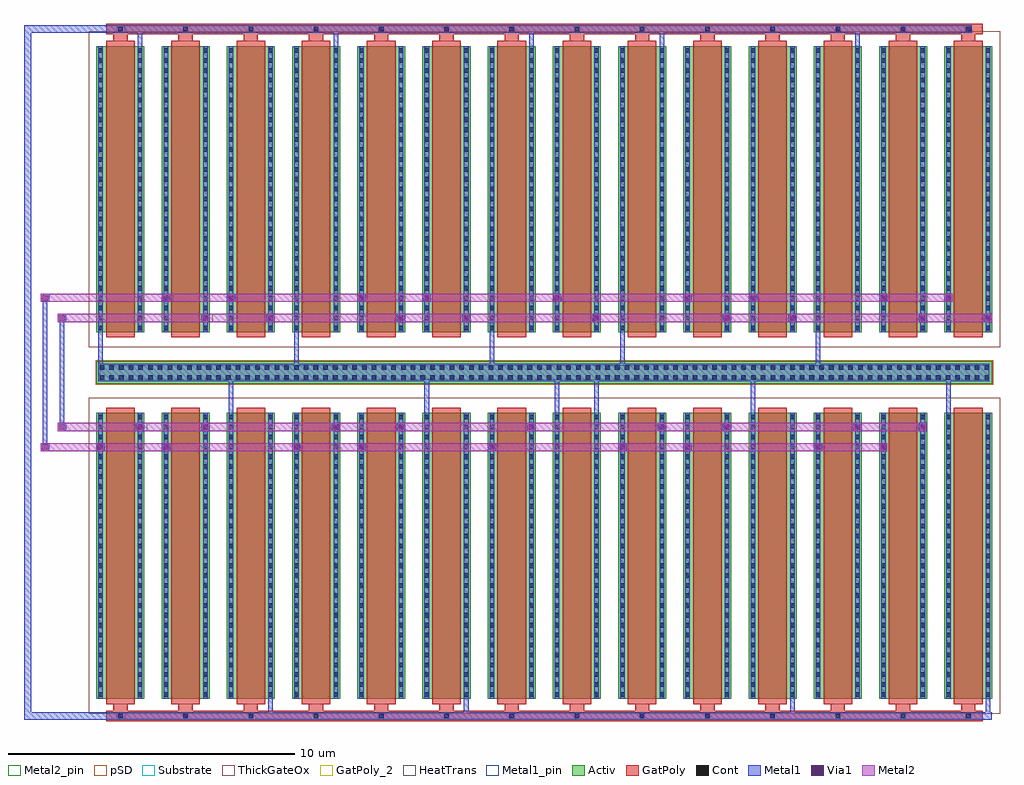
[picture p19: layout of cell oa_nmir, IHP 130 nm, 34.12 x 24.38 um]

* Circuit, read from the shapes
.subckt oa_nmir vss
XM1 oa_nmir_r1_0/d10 oa_nmir_r1_0/vnc oa_nmir_r1_0/vres vss sg13_hv_nmos w=10u l=1u m=18
XM2 oa_nmir_r1_0/vnc oa_nmir_r1_0/vnc vss vss sg13_hv_nmos w=10u l=1u m=9
XM3 vss oa_nmir_r1_0/vnc vss vss sg13_hv_nmos w=10u l=1u
.ends

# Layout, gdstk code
import gdstk
lib = gdstk.Library(unit=1e-6, precision=1e-09)
def R(c, l, rs):  # rectangles x0, y0, x1, y1
    for r in rs: c.add(gdstk.rectangle(r[:2], r[2:], *l))
def A(c, l, x, y, w, h, nx, ny, dx, dy):  # array of equal rectangles
    R(c, l, [(x+i*dx, y+j*dy, x+i*dx+w, y+j*dy+h) for i in range(nx) for j in range(ny)])
Activ = (1, 0)
GatPoly = (5, 0)
GatPoly_2 = (5, 2)
Cont = (6, 0)
Metal1 = (8, 0)
Metal1_pin = (8, 2)
Metal2 = (10, 0)
Metal2_pin = (10, 2)
pSD = (14, 0)
Via1 = (19, 0)
Substrate = (40, 0)
ThickGateOx = (44, 0)
HeatTrans = (51, 0)

nmoshv_7 = lib.new_cell('nmosHV$7')
R(nmoshv_7, Activ, [(0,0,0.3,0.3), (0,0,1.68,10), (1.38,0,1.68,0.3)])
R(nmoshv_7, GatPoly, [(0.34,-0.18,1.34,10.18)])
R(nmoshv_7, GatPoly_2, [(0.34,-0.18,1.34,10.18)])
A(nmoshv_7, Cont, 0.07, 0.07, 0.16, 0.16, 1, 4, 0, 0.345)
A(nmoshv_7, Cont, 1.45, 0.07, 0.16, 0.16, 1, 4, 0, 0.345)
A(nmoshv_7, Cont, 0.07, 1.455, 0.16, 0.16, 1, 3, 0, 0.345)
A(nmoshv_7, Cont, 1.45, 1.455, 0.16, 0.16, 1, 3, 0, 0.345)
A(nmoshv_7, Cont, 0.07, 2.495, 0.16, 0.16, 1, 4, 0, 0.345)
A(nmoshv_7, Cont, 1.45, 2.495, 0.16, 0.16, 1, 4, 0, 0.345)
A(nmoshv_7, Cont, 0.07, 3.88, 0.16, 0.16, 1, 3, 0, 0.345)
A(nmoshv_7, Cont, 1.45, 3.88, 0.16, 0.16, 1, 3, 0, 0.345)
A(nmoshv_7, Cont, 0.07, 4.92, 0.16, 0.16, 1, 4, 0, 0.345)
A(nmoshv_7, Cont, 1.45, 4.92, 0.16, 0.16, 1, 4, 0, 0.345)
A(nmoshv_7, Cont, 0.07, 6.305, 0.16, 0.16, 1, 3, 0, 0.345)
A(nmoshv_7, Cont, 1.45, 6.305, 0.16, 0.16, 1, 3, 0, 0.345)
A(nmoshv_7, Cont, 0.07, 7.345, 0.16, 0.16, 1, 4, 0, 0.345)
A(nmoshv_7, Cont, 1.45, 7.345, 0.16, 0.16, 1, 4, 0, 0.345)
A(nmoshv_7, Cont, 0.07, 8.73, 0.16, 0.16, 1, 3, 0, 0.345)
A(nmoshv_7, Cont, 1.45, 8.73, 0.16, 0.16, 1, 3, 0, 0.345)
R(nmoshv_7, Cont, [(0.07,9.77,0.23,9.93), (1.45,9.77,1.61,9.93)])
R(nmoshv_7, Metal1, [(0.07,0,0.23,10), (1.45,0,1.61,10)])
R(nmoshv_7, Metal1_pin, [(0.07,0,0.23,10), (1.45,0,1.61,10)])
R(nmoshv_7, ThickGateOx, [(-0.27,-0.52,1.95,10.52)])
R(nmoshv_7, HeatTrans, [(0.34,-0.18,1.34,10.18)])
nmoshv_7.add(gdstk.Label('nmosHV', (0.84,5), layer=63, texttype=0))
nmoshv_7.add(gdstk.Label('nmosHV', (0.84,5), layer=51, texttype=0))

ptap1_9 = lib.new_cell('ptap1$9')
R(ptap1_9, Activ, [(0,0,31.32,0.78)])
A(ptap1_9, Cont, 0.11, 0.14, 0.16, 0.16, 92, 2, 0.34, 0.34)
R(ptap1_9, Metal1, [(0.11,0.09,31.21,0.69), (0.11,0.14,31.21,0.64)])
R(ptap1_9, Metal1_pin, [(0.11,0.14,31.21,0.64)])
R(ptap1_9, pSD, [(-0.03,-0.03,31.35,0.81)])
R(ptap1_9, Substrate, [(0,0,31.32,0.78)])
ptap1_9.add(gdstk.Label('sub!', (15.66,0.01), layer=63, texttype=0))
ptap1_9.add(gdstk.Label('sub!', (15.66,0.01), layer=40, texttype=0))

oa_nmir_r1 = lib.new_cell('oa_nmir_r1')
A(oa_nmir_r1, GatPoly, 0.59, 10, 0.5, 0.43, 14, 1, 2.28, 0)
R(oa_nmir_r1, GatPoly, [(0.34,10.42,30.98,10.78)])
A(oa_nmir_r1, Cont, 0.76, 10.52, 0.16, 0.16, 14, 1, 2.28, 0)
A(oa_nmir_r1, Metal1, 0.07, -1.21, 0.16, 1.26, 3, 1, 6.84, 0)
A(oa_nmir_r1, Metal1, 12.785, 0.355, 0.29, 0.29, 3, 1, 4.56, 0)
A(oa_nmir_r1, Metal1, 11.405, 1.055, 0.29, 0.29, 3, 1, 4.56, 0)
A(oa_nmir_r1, Metal1, 1.45, 9.95, 0.16, 0.65, 3, 1, 6.84, 0)
R(oa_nmir_r1, Metal1, [(0.07,-1.71,25.31,-1.11), (18.31,-1.21,18.47,0.05), (25.15,-1.21,25.31,0.05), (3.665,0.355,3.955,0.645), (5.945,0.355,6.235,0.645), (10.505,0.355,10.795,0.645), (24.185,0.355,24.475,0.645), (28.745,0.355,29.035,0.645), (31.025,0.355,31.315,0.645), (2.285,1.055,2.575,1.345), (4.565,1.055,4.855,1.345), (9.125,1.055,9.415,1.345), (22.805,1.055,23.095,1.345), (27.365,1.055,27.655,1.345), (29.645,1.055,29.935,1.345), (19.69,9.95,19.85,10.6), (26.53,9.95,26.69,10.6), (0.71,10.47,30.61,10.73)])
R(oa_nmir_r1, Metal1_pin, [(0.11,-1.71,0.51,-1.11), (0.71,10.47,1.01,10.73)])
R(oa_nmir_r1, Metal2, [(3.665,0.355,31.315,0.645), (2.285,1.055,29.935,1.345)])
R(oa_nmir_r1, Metal2_pin, [(3.665,0.355,4.06,0.645), (2.285,1.055,2.68,1.345)])
A(oa_nmir_r1, Via1, 12.835, 0.405, 0.19, 0.19, 3, 1, 4.56, 0)
A(oa_nmir_r1, Via1, 11.455, 1.105, 0.19, 0.19, 3, 1, 4.56, 0)
R(oa_nmir_r1, Via1, [(3.715,0.405,3.905,0.595), (5.995,0.405,6.185,0.595), (10.555,0.405,10.745,0.595), (24.235,0.405,24.425,0.595), (28.795,0.405,28.985,0.595), (31.075,0.405,31.265,0.595), (2.335,1.105,2.525,1.295), (4.615,1.105,4.805,1.295), (9.175,1.105,9.365,1.295), (22.855,1.105,23.045,1.295), (27.415,1.105,27.605,1.295), (29.695,1.105,29.885,1.295)])
R(oa_nmir_r1, ThickGateOx, [(-0.27,-0.52,31.59,10.52)])
oa_nmir_r1.add(gdstk.Reference(nmoshv_7, (0,0)))
oa_nmir_r1.add(gdstk.Reference(nmoshv_7, (2.28,0)))
oa_nmir_r1.add(gdstk.Reference(nmoshv_7, (4.56,0)))
oa_nmir_r1.add(gdstk.Reference(nmoshv_7, (6.84,0)))
oa_nmir_r1.add(gdstk.Reference(nmoshv_7, (9.12,0)))
oa_nmir_r1.add(gdstk.Reference(nmoshv_7, (11.4,0)))
oa_nmir_r1.add(gdstk.Reference(nmoshv_7, (13.68,0)))
oa_nmir_r1.add(gdstk.Reference(nmoshv_7, (15.96,0)))
oa_nmir_r1.add(gdstk.Reference(nmoshv_7, (18.24,0)))
oa_nmir_r1.add(gdstk.Reference(nmoshv_7, (20.52,0)))
oa_nmir_r1.add(gdstk.Reference(nmoshv_7, (22.8,0)))
oa_nmir_r1.add(gdstk.Reference(nmoshv_7, (25.08,0)))
oa_nmir_r1.add(gdstk.Reference(nmoshv_7, (27.36,0)))
oa_nmir_r1.add(gdstk.Reference(nmoshv_7, (29.64,0)))
oa_nmir_r1.add(gdstk.Reference(ptap1_9, (0,-1.8)))
oa_nmir_r1.add(gdstk.Label('M11', (0,5), layer=63, texttype=0))
oa_nmir_r1.add(gdstk.Label('M10', (2.28,5), layer=63, texttype=0))
oa_nmir_r1.add(gdstk.Label('M10', (4.56,5), layer=63, texttype=0))
oa_nmir_r1.add(gdstk.Label('M11', (6.84,5), layer=63, texttype=0))
oa_nmir_r1.add(gdstk.Label('M10', (9.12,5), layer=63, texttype=0))
oa_nmir_r1.add(gdstk.Label('M10', (11.4,5), layer=63, texttype=0))
oa_nmir_r1.add(gdstk.Label('M11', (13.68,5), layer=63, texttype=0))
oa_nmir_r1.add(gdstk.Label('M10', (15.96,5), layer=63, texttype=0))
oa_nmir_r1.add(gdstk.Label('M11', (18.24,5), layer=63, texttype=0))
oa_nmir_r1.add(gdstk.Label('M10', (20.52,5), layer=63, texttype=0))
oa_nmir_r1.add(gdstk.Label('M10', (22.8,5), layer=63, texttype=0))
oa_nmir_r1.add(gdstk.Label('M11', (25.08,5), layer=63, texttype=0))
oa_nmir_r1.add(gdstk.Label('M10', (27.36,5), layer=63, texttype=0))
oa_nmir_r1.add(gdstk.Label('M10', (29.64,5), layer=63, texttype=0))
oa_nmir_r1.add(gdstk.Label('vnc', (0.86,10.6), layer=8, texttype=25))
oa_nmir_r1.add(gdstk.Label('vss', (0.31,-1.41), layer=8, texttype=25))
oa_nmir_r1.add(gdstk.Label('vres', (2.48,1.2), layer=10, texttype=25))
oa_nmir_r1.add(gdstk.Label('d10', (3.86,0.5), layer=10, texttype=25))

oa_nmir_r2 = lib.new_cell('oa_nmir_r2')
A(oa_nmir_r2, GatPoly, 0.59, 10, 0.5, 0.43, 14, 1, 2.28, 0)
R(oa_nmir_r2, GatPoly, [(0.34,10.42,30.98,10.78)])
A(oa_nmir_r2, Cont, 0.76, 10.52, 0.16, 0.16, 14, 1, 2.28, 0)
A(oa_nmir_r2, Metal1, 10.505, 0.355, 0.29, 0.29, 3, 1, 4.56, 0)
A(oa_nmir_r2, Metal1, 9.125, 1.055, 0.29, 0.29, 3, 1, 4.56, 0)
R(oa_nmir_r2, Metal1, [(4.63,-1.71,29.87,-1.11), (4.63,-1.21,4.79,0.05), (11.47,-1.21,11.63,0.05), (16.03,-1.21,16.19,0.05), (17.41,-1.21,17.57,0.05), (22.87,-1.21,23.03,0.05), (29.71,-1.21,29.87,0.05), (1.385,0.355,1.675,0.645), (3.665,0.355,3.955,0.645), (8.225,0.355,8.515,0.645), (21.905,0.355,22.195,0.645), (26.465,0.355,26.755,0.645), (28.745,0.355,29.035,0.645), (0.005,1.055,0.295,1.345), (2.285,1.055,2.575,1.345), (6.845,1.055,7.135,1.345), (20.525,1.055,20.815,1.345), (25.085,1.055,25.375,1.345), (27.365,1.055,27.655,1.345), (6.01,9.95,6.17,10.6), (12.85,9.95,13.01,10.6), (24.25,9.95,24.41,10.6), (31.09,9.95,31.25,10.6), (0.71,10.47,31.3,10.73)])
R(oa_nmir_r2, Metal1_pin, [(0.11,-1.71,0.51,-1.11), (0.71,10.47,1.01,10.73)])
R(oa_nmir_r2, Metal2, [(1.385,0.355,29.035,0.645), (0.005,1.055,27.655,1.345)])
R(oa_nmir_r2, Metal2_pin, [(1.385,0.355,1.78,0.645), (0.005,1.055,0.4,1.345)])
A(oa_nmir_r2, Via1, 10.555, 0.405, 0.19, 0.19, 3, 1, 4.56, 0)
A(oa_nmir_r2, Via1, 9.175, 1.105, 0.19, 0.19, 3, 1, 4.56, 0)
R(oa_nmir_r2, Via1, [(1.435,0.405,1.625,0.595), (3.715,0.405,3.905,0.595), (8.275,0.405,8.465,0.595), (21.955,0.405,22.145,0.595), (26.515,0.405,26.705,0.595), (28.795,0.405,28.985,0.595), (0.055,1.105,0.245,1.295), (2.335,1.105,2.525,1.295), (6.895,1.105,7.085,1.295), (20.575,1.105,20.765,1.295), (25.135,1.105,25.325,1.295), (27.415,1.105,27.605,1.295)])
R(oa_nmir_r2, ThickGateOx, [(-0.27,-0.52,31.59,10.52)])
oa_nmir_r2.add(gdstk.Reference(nmoshv_7, (0,0)))
oa_nmir_r2.add(gdstk.Reference(nmoshv_7, (2.28,0)))
oa_nmir_r2.add(gdstk.Reference(nmoshv_7, (4.56,0)))
oa_nmir_r2.add(gdstk.Reference(nmoshv_7, (6.84,0)))
oa_nmir_r2.add(gdstk.Reference(nmoshv_7, (9.12,0)))
oa_nmir_r2.add(gdstk.Reference(nmoshv_7, (11.4,0)))
oa_nmir_r2.add(gdstk.Reference(nmoshv_7, (13.68,0)))
oa_nmir_r2.add(gdstk.Reference(nmoshv_7, (15.96,0)))
oa_nmir_r2.add(gdstk.Reference(nmoshv_7, (18.24,0)))
oa_nmir_r2.add(gdstk.Reference(nmoshv_7, (20.52,0)))
oa_nmir_r2.add(gdstk.Reference(nmoshv_7, (22.8,0)))
oa_nmir_r2.add(gdstk.Reference(nmoshv_7, (25.08,0)))
oa_nmir_r2.add(gdstk.Reference(nmoshv_7, (27.36,0)))
oa_nmir_r2.add(gdstk.Reference(nmoshv_7, (29.64,0)))
oa_nmir_r2.add(gdstk.Reference(ptap1_9, (0,-1.8)))
oa_nmir_r2.add(gdstk.Label('M10', (0,5), layer=63, texttype=0))
oa_nmir_r2.add(gdstk.Label('M10', (2.28,5), layer=63, texttype=0))
oa_nmir_r2.add(gdstk.Label('M11', (4.56,5), layer=63, texttype=0))
oa_nmir_r2.add(gdstk.Label('M10', (6.84,5), layer=63, texttype=0))
oa_nmir_r2.add(gdstk.Label('M10', (9.12,5), layer=63, texttype=0))
oa_nmir_r2.add(gdstk.Label('M11', (11.4,5), layer=63, texttype=0))
oa_nmir_r2.add(gdstk.Label('M10', (13.68,5), layer=63, texttype=0))
oa_nmir_r2.add(gdstk.Label('dummy', (15.96,5), layer=63, texttype=0))
oa_nmir_r2.add(gdstk.Label('M10', (18.24,5), layer=63, texttype=0))
oa_nmir_r2.add(gdstk.Label('M10', (20.52,5), layer=63, texttype=0))
oa_nmir_r2.add(gdstk.Label('M11', (22.8,5), layer=63, texttype=0))
oa_nmir_r2.add(gdstk.Label('M10', (25.08,5), layer=63, texttype=0))
oa_nmir_r2.add(gdstk.Label('M10', (27.36,5), layer=63, texttype=0))
oa_nmir_r2.add(gdstk.Label('M11', (29.64,5), layer=63, texttype=0))
oa_nmir_r2.add(gdstk.Label('vnc', (0.86,10.6), layer=8, texttype=25))
oa_nmir_r2.add(gdstk.Label('vss', (0.31,-1.41), layer=8, texttype=25))
oa_nmir_r2.add(gdstk.Label('vres', (0.2,1.2), layer=10, texttype=25))
oa_nmir_r2.add(gdstk.Label('d10', (1.58,0.5), layer=10, texttype=25))

oa_nmir = lib.new_cell('oa_nmir')
R(oa_nmir, Metal1, [(-2.53,-13.55,0.72,-13.29), (-2.53,-13.42,-2.27,10.6), (-1.945,-4.165,-1.655,-3.875), (-1.88,-4.02,-1.72,1.2), (-1.345,-3.465,-1.055,-3.175), (-1.28,-3.32,-1.12,0.5), (-1.345,0.355,-1.055,0.645), (-1.945,1.055,-1.655,1.345), (-2.53,10.47,0.72,10.73)])
R(oa_nmir, Metal2, [(-1.945,-4.165,0.15,-3.875), (-1.345,-3.465,1.53,-3.175), (-1.345,0.355,3.81,0.645), (-1.945,1.055,2.43,1.345)])
R(oa_nmir, Via1, [(-1.895,-4.115,-1.705,-3.925), (-1.295,-3.415,-1.105,-3.225), (-1.295,0.405,-1.105,0.595), (-1.895,1.105,-1.705,1.295)])
oa_nmir.add(gdstk.Reference(oa_nmir_r1, (0,0)))
oa_nmir.add(gdstk.Reference(oa_nmir_r2, (0,-2.82), x_reflection=True))

lib.write_gds('oa_nmir.gds')
